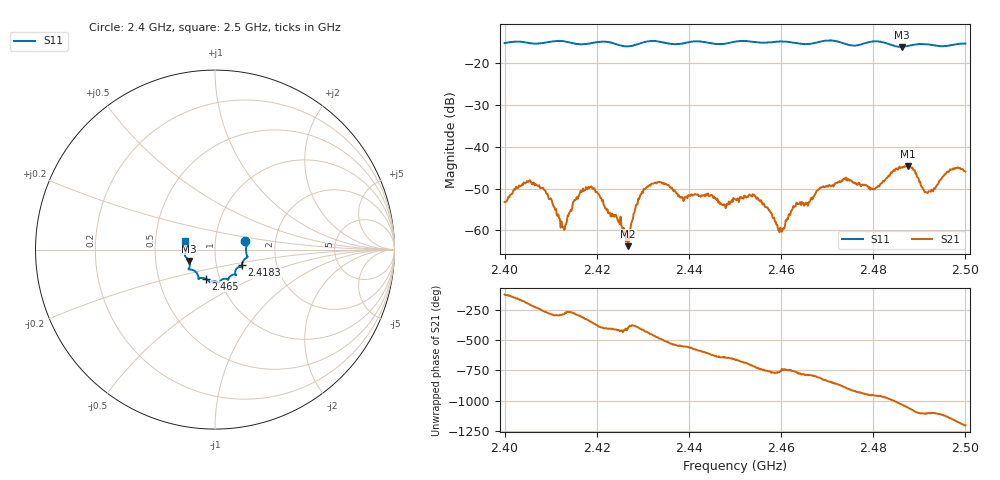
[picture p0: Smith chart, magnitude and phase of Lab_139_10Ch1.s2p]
# Hz S RI R 50
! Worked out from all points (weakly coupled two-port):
!   601 points, 2.4 GHz to 2.5 GHz, reference 50 ohm
!   highest |S21| = -44.58 dB at 2.4875 GHz (marker M1); lowest = -63.8 dB at 2.4268 GHz (marker M2)
!   lowest |S11| = -16.0 dB at 2.4862 GHz (marker M3), VSWR 1.37, Z = 37.1 - j4.86 ohm
!   |S11| at or under -10 dB: start of sweep to end of sweep
!   S12 and S22 are empty: the file has one direction only
!   S11 on the Smith chart (normalised r, x): 2.4 GHz: 1.40, +0.13; 2.4183 GHz: 1.33, -0.24; 2.465 GHz: 0.86, -0.29; 2.5 GHz: 0.71, +0.07
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2.4e9  0.1691 0.0457  -0.00126 -0.00179  0 0  0 0
2.405833e9  0.1735 0.0107  -0.00304 0.00211  0 0  0 0
2.408833e9  0.1758 -0.0255  -1.15e-05 0.003  0 0  0 0
2.412667e9  0.1801 -0.0434  0.000337 0.00103  0 0  0 0
2.416667e9  0.155 -0.0685  0.00177 0.00226  0 0  0 0
2.418333e9  0.1498 -0.0869  0.00303 0.00101  0 0  0 0
2.426833e9  0.1193 -0.1072  0.000531 -0.000371  0 0  0 0
2.4295e9  0.113 -0.1332  0.00183 -0.00199  0 0  0 0
2.433333e9  0.1167 -0.1413  -0.00201 -0.00323  0 0  0 0
2.4385e9  0.0797 -0.1535  -0.00247 0.000437  0 0  0 0
2.45e9  0.0252 -0.1807  0.00114 0.00206  0 0  0 0
2.454333e9  0.012 -0.1801  0.00258 -2.63e-05  0 0  0 0
2.459833e9  -0.0275 -0.1814  0.000885 -0.000618  0 0  0 0
2.465e9  -0.0529 -0.1621  0.000893 -0.00176  0 0  0 0
2.466667e9  -0.0714 -0.1575  0.000842 -0.00231  0 0  0 0
2.473667e9  -0.0943 -0.1458  -0.00401 -0.00092  0 0  0 0
2.479833e9  -0.1467 -0.1102  -0.00191 0.00247  0 0  0 0
2.483333e9  -0.1416 -0.0957  -0.000605 0.00451  0 0  0 0
2.486167e9  -0.1444 -0.0638  0.00371 0.00433  0 0  0 0
2.4875e9  -0.1535 -0.0508  0.00539 0.00239  0 0  0 0
2.491667e9  -0.1672 -0.0297  0.00259 -0.00112  0 0  0 0
2.5e9  -0.1665 0.047  -0.0028 -0.0042  0 0  0 0
